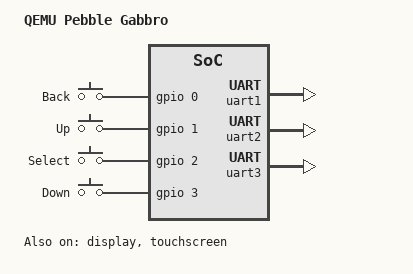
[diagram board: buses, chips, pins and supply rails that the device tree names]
// SPDX-FileCopyrightText: 2026 Core Devices LLC
// SPDX-License-Identifier: (GPL-2.0-only OR BSD-2-Clause)

/dts-v1/;

#include "qemu/pebble-cortex-m33.dtsi"

#include <dt-bindings/input/input.h>

/ {
	model = "QEMU Pebble Gabbro";

	compatible = "qemu,pebble-gabbro";

	buttons: gpio-keys {
		compatible = "gpio-keys";

		button-back {
			label = "Back";
			gpios = <&gpio 0 GPIO_ACTIVE_HIGH>;
			linux,code = <KEY_BACK>;
			debounce-interval = <0>;
		};

		button-up {
			label = "Up";
			gpios = <&gpio 1 GPIO_ACTIVE_HIGH>;
			linux,code = <KEY_UP>;
			debounce-interval = <0>;
		};

		button-select {
			label = "Select";
			gpios = <&gpio 2 GPIO_ACTIVE_HIGH>;
			linux,code = <KEY_SELECT>;
			debounce-interval = <0>;
		};

		button-down {
			label = "Down";
			gpios = <&gpio 3 GPIO_ACTIVE_HIGH>;
			linux,code = <KEY_DOWN>;
			debounce-interval = <0>;
		};
	};
};

&uart1 {
	status = "okay";
};

&uart2 {
	status = "okay";
};

&uart3 {
	status = "okay";
};

&gpio {
	status = "okay";
};

&display {
	width = <260>;
	height = <260>;
	bits-per-pixel = <8>;
	/* Round mask of the LS013B7DD02 panel, from table 6-6-2 of its datasheet */
	qemu,round-mask = <113 107 102 98 94 90 87 85 82 80 77 75 73
			   71 69 67 65 64 62 60 59 57 56 54 53 52
			   50 49 48 46 45 44 43 42 41 40 39 38 37
			   36 35 34 33 32 31 30 29 29 28 27 26 26
			   25 24 23 23 22 21 21 20 19 19 18 18 17
			   16 16 15 15 14 14 13 13 12 12 11 11 10
			   10 10 9 9 8 8 8 7 7 6 6 6 5
			   5 5 5 4 4 4 4 3 3 3 3 2 2
			   2 2 2 1 1 1 1 1 1 0 0 0 0
			   0 0 0 0 0 0 0 0 0 0 0 0 0>;
	status = "okay";
};

&touchscreen {
	touchscreen-size-x = <260>;
	touchscreen-size-y = <260>;
	status = "okay";
};

&internal_flash {
	partitions {
		compatible = "fixed-partitions";
		#address-cells = <1>;
		#size-cells = <1>;

		partition@0 {
			label = "code";
			reg = <0x0 0x400000>;
		};
	};
};

&flash0 {
	status = "okay";
};

&psram {
	status = "okay";
};
